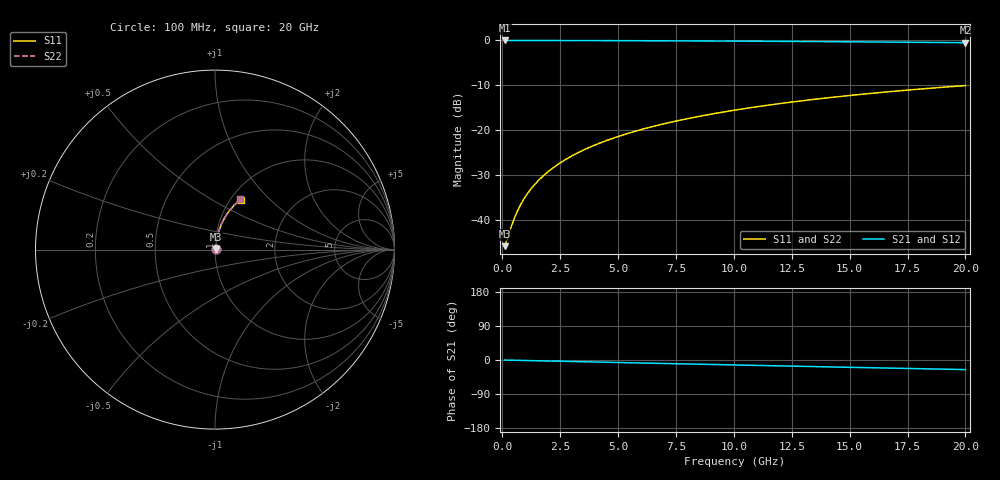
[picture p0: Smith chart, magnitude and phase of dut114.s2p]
! Touchstone file exported from HFSS 2026.1.0
!  File:  C:/ffzhzh/LocalFiles/Ansys_Project_Files/temp_train_TMRDL_114_1782982498_42984.aedt
!  Generated:  04:56:11 PM Jul  2, 2026
!  Design:  TMRDL
!  Project:  temp_train_TMRDL_114_1782982498_42984
! Variables:
!  h_bsmrdl = 2um
!  h_ox = 20um
!  h_rdl = 5um
!  h_sub = 80um
!  h_tmrdl = 2.14um
!  h_tsv = 80um
!  h_via = 3um
!  l_bsmrdl = 300um
!  l_sub = 688.44um
!  l_tmrdl = 288.44um
!  m_sub = 200um
!  pitch = 39.4um
!  r_tsv = 6um
!  s_tmrdl = 10um
!  w_bsmrdl = 18um
!  w_sub = 500um
!  w_tmrdl = 10.33um
!  x_tsv_center1 = 293.605um
!  x_tsv_center2 = 611.605um
!  x_tsv_center3 = 910.375um
!  x_tsv_center4 = 1228.375um
!  x_tsv_center5 = 1527.145um
!  x_tsv_center6 = 1845.145um
# GHz S MA R 50.000000
! Terminal data exported
! Port[1] = TM_RDL1_1_T1
! Port[2] = TM_RDL1_1_T2
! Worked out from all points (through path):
!   200 points, 100 MHz to 20 GHz, reference 50 ohm
!   highest |S21| = -0.04 dB at 100 MHz (marker M1); lowest = -0.5 dB at 20 GHz (marker M2)
!   group delay of S21, straight-line fit = 3.52 ps
!   lowest |S11| = -45.8 dB at 100 MHz (marker M3), VSWR 1.01, Z = 50.5 + j0.179 ohm
!   |S11| at or under -10 dB: start of sweep to end of sweep
!   |S22| runs from -45.8 to -10.1 dB; largest |S21 - S12| = 4.1e-15
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0.1  0.005122 20.2  0.9952 -0.1  0.9952 -0.1  0.005122 20.2
! Gamma 0 0 0 0
! Port Impedance 50 0 50 0
0.2  0.005992 36.2  0.9952 -0.3  0.9952 -0.3  0.005992 36.2
0.4  0.008615 54.9  0.9951 -0.5  0.9951 -0.5  0.008615 54.9
0.5  0.01013 60.2  0.995 -0.7  0.995 -0.7  0.01013 60.2
0.7  0.01332 66.9  0.9949 -0.9  0.9949 -0.9  0.01332 66.8
0.8  0.01495 69.0  0.9948 -1.1  0.9948 -1.1  0.01495 69.0
1  0.01825 72.1  0.9947 -1.3  0.9947 -1.3  0.01825 72.1
1.3  0.02322 75.0  0.9944 -1.7  0.9944 -1.7  0.02322 75.0
1.7  0.02988 77.2  0.9941 -2.3  0.9941 -2.3  0.02988 77.2
2.2  0.03822 78.6  0.9937 -2.9  0.9937 -2.9  0.03822 78.7
2.8  0.04825 79.5  0.9931 -3.7  0.9931 -3.7  0.04824 79.5
3.5  0.05995 79.8  0.9924 -4.6  0.9924 -4.6  0.05995 79.8
4.2  0.07164 79.7  0.9915 -5.6  0.9915 -5.6  0.07164 79.7
5  0.08497 79.3  0.9903 -6.6  0.9903 -6.6  0.08497 79.3
5.9  0.0999 78.6  0.9888 -7.8  0.9888 -7.8  0.0999 78.7
6.8  0.1147 77.8  0.987 -9.0  0.987 -9.0  0.1147 77.9
8.3  0.1392 76.3  0.9836 -10.9  0.9836 -10.9  0.1392 76.4
10.1  0.168 74.3  0.9787 -13.2  0.9787 -13.2  0.168 74.4
11.7  0.1931 72.5  0.9737 -15.2  0.9737 -15.2  0.1931 72.6
13.4  0.2192 70.5  0.9678 -17.3  0.9678 -17.3  0.2192 70.6
16.7  0.2677 66.7  0.9548 -21.4  0.9548 -21.4  0.2677 66.8
20  0.3134 62.9  0.9401 -25.3  0.9401 -25.3  0.3133 63.0
